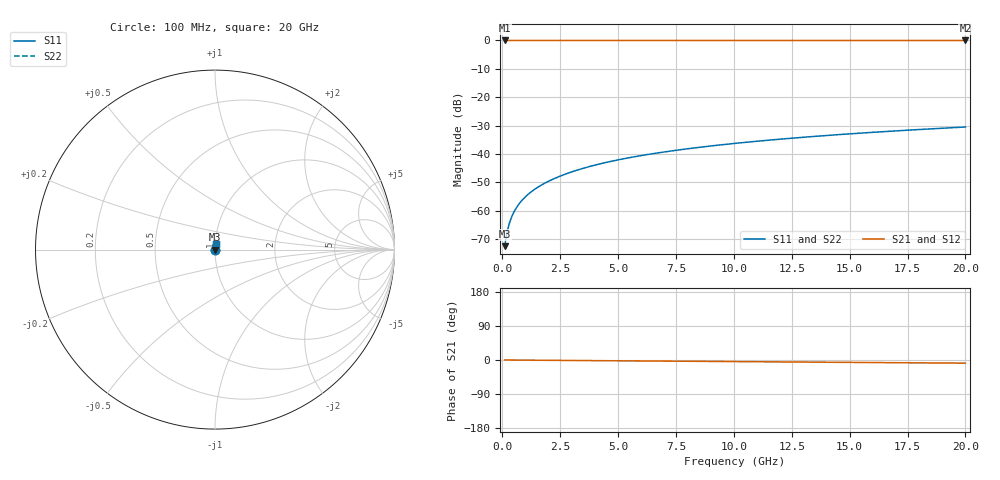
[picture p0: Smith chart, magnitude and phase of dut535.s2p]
! Touchstone file exported from HFSS 2026.1.0
!  File:  C:/ffzhzh/LocalFiles/Ansys_Project_Files/temp_train_TSV_535_1783023875_4048.aedt
!  Generated:  04:26:20 AM Jul  3, 2026
!  Design:  TSV
!  Project:  temp_train_TSV_535_1783023875_4048
! Variables:
!  h_bsmrdl = 2um
!  h_ox = 20um
!  h_rdl = 5um
!  h_sub = 80.03um
!  h_tmrdl = 5um
!  h_tsv = 80.03um
!  h_via = 3um
!  l_bsmrdl = 300um
!  l_sub = 418.66um
!  l_tmrdl = 200um
!  m_sub = 200um
!  pitch = 48.22um
!  r_tsv = 9.33um
!  s_tmrdl = 10um
!  w_bsmrdl = 18um
!  w_sub = 500um
!  w_tmrdl = 12um
!  x_tsv_center1 = 206um
!  x_tsv_center2 = 524um
!  x_tsv_center3 = 736um
!  x_tsv_center4 = 1054um
!  x_tsv_center5 = 1266um
!  x_tsv_center6 = 1584um
# GHz S MA R 50.000000
! Terminal data exported
! Port[1] = TSV1_1_T1
! Port[2] = TSV1_1_T2
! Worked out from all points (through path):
!   200 points, 100 MHz to 20 GHz, reference 50 ohm
!   highest |S21| = 0.00 dB at 100 MHz (marker M1); lowest = 0.0 dB at 20 GHz (marker M2)
!   group delay of S21, straight-line fit = 1.16 ps
!   lowest |S11| = -72.5 dB at 100 MHz (marker M3), VSWR 1.00, Z = 50 + j0.0191 ohm
!   |S11| at or under -10 dB: start of sweep to end of sweep
!   |S22| runs from -72.5 to -30.5 dB; largest |S21 - S12| = 2.7e-15
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0.1  0.0002369 53.8  0.9999 -0.0  0.9999 -0.0  0.0002369 53.8
! Gamma 0 0 0 0
! Port Impedance 50 0 50 0
0.2  0.000409 68.3  0.9998 -0.1  0.9998 -0.1  0.000409 68.3
0.3  0.0005892 73.4  0.9998 -0.1  0.9998 -0.1  0.0005892 73.4
0.4  0.0007679 75.7  0.9998 -0.2  0.9998 -0.2  0.0007679 75.7
0.5  0.0009427 77.0  0.9998 -0.2  0.9998 -0.2  0.0009427 77.0
0.6  0.001113 77.7  0.9998 -0.3  0.9998 -0.3  0.001113 77.7
0.7  0.00128 78.3  0.9997 -0.3  0.9997 -0.3  0.00128 78.3
0.8  0.001443 78.7  0.9997 -0.3  0.9997 -0.3  0.001443 78.7
1  0.001761 79.4  0.9997 -0.4  0.9997 -0.4  0.001761 79.4
1.4  0.002383 80.5  0.9996 -0.6  0.9996 -0.6  0.002383 80.5
1.7  0.002844 81.1  0.9996 -0.7  0.9996 -0.7  0.002844 81.1
2  0.003303 81.6  0.9996 -0.9  0.9996 -0.9  0.003303 81.6
2.7  0.004374 82.4  0.9995 -1.1  0.9995 -1.1  0.004374 82.4
3.5  0.005594 82.9  0.9994 -1.5  0.9994 -1.5  0.005594 82.9
4.2  0.006656 83.0  0.9994 -1.8  0.9994 -1.8  0.006656 83.0
5  0.007863 83.1  0.9993 -2.1  0.9993 -2.1  0.007863 83.1
6.8  0.01055 82.9  0.9992 -2.9  0.9992 -2.9  0.01055 82.9
8.3  0.01278 82.7  0.9991 -3.5  0.9991 -3.5  0.01278 82.7
10.1  0.01543 82.3  0.9989 -4.2  0.9989 -4.2  0.01543 82.3
13.4  0.02026 81.3  0.9987 -5.6  0.9987 -5.6  0.02026 81.3
16.7  0.02506 80.3  0.9985 -7.0  0.9985 -7.0  0.02506 80.3
20  0.02981 79.1  0.9982 -8.4  0.9982 -8.4  0.02981 79.1
